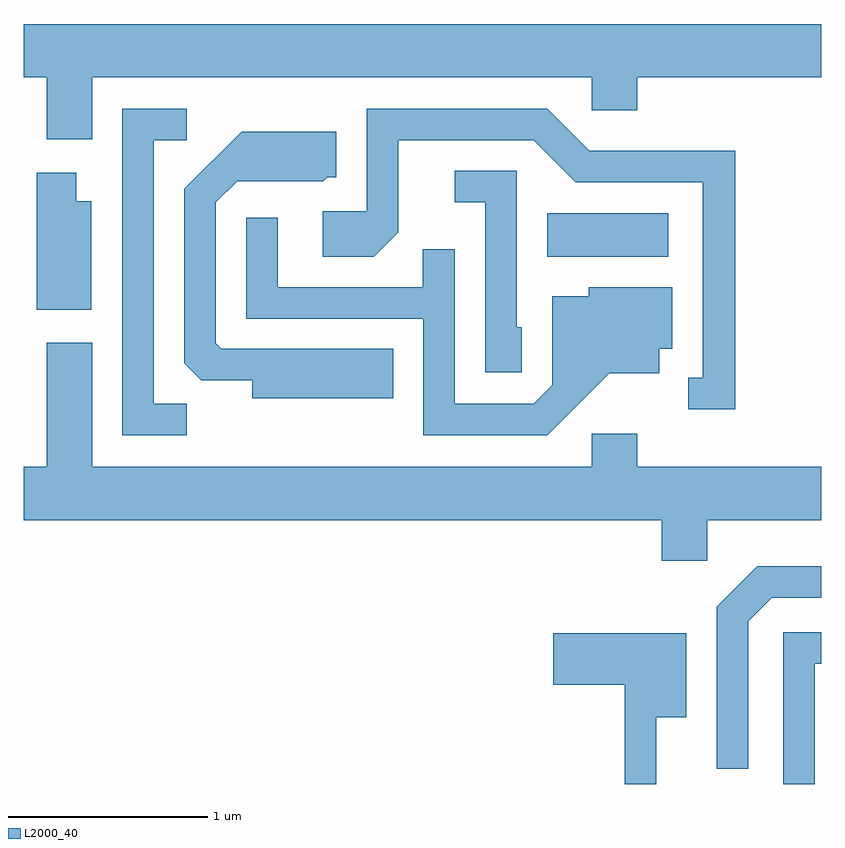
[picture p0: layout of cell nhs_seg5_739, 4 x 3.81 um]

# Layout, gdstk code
import gdstk
lib = gdstk.Library(unit=1e-6, precision=1e-09)
def R(c, l, rs):  # rectangles x0, y0, x1, y1
    for r in rs: c.add(gdstk.rectangle(r[:2], r[2:], *l))
def P(c, l, *ps):  # polygons
    for p in ps: c.add(gdstk.Polygon(p, *l))
L2000_40 = (2000, 40)

nhs_seg5_739 = lib.new_cell('nhs_seg5_739')
R(nhs_seg5_739, L2000_40, [(208.236,1524.716,208.844,1524.934)])
P(nhs_seg5_739, L2000_40, [(205.954,1525.616),(208.461,1525.616),(208.461,1525.451),(208.689,1525.451),(208.689,1525.616),(209.611,1525.616),(209.611,1525.884),(205.611,1525.884),(205.611,1525.616),(205.726,1525.616),(205.726,1525.306),(205.954,1525.306)],
  [(206.428,1523.979),(206.264,1523.979),(206.264,1525.301),(206.428,1525.301),(206.428,1525.459),(206.106,1525.459),(206.106,1523.821),(206.428,1523.821)],
  [(209.179,1525.249),(208.447,1525.249),(208.237,1525.459),(207.331,1525.459),(207.331,1524.944),(207.111,1524.944),(207.111,1524.716),(207.367,1524.716),(207.489,1524.839),(207.489,1525.301),(208.169,1525.301),(208.379,1525.091),(209.016,1525.091),(209.016,1524.109),(208.943,1524.109),(208.943,1523.951),(209.179,1523.951)],
  [(207.464,1524.254),(206.602,1524.254),(206.574,1524.282),(206.574,1524.989),(206.682,1525.096),(207.112,1525.096),(207.132,1525.116),(207.179,1525.116),(207.179,1525.344),(206.704,1525.344),(206.416,1525.057),(206.416,1524.182),(206.502,1524.096),(206.756,1524.096),(206.756,1524.006),(207.464,1524.006)],
  [(208.109,1524.364),(208.084,1524.364),(208.084,1525.149),(207.773,1525.149),(207.773,1524.991),(207.926,1524.991),(207.926,1524.136),(208.109,1524.136)],
  [(205.949,1524.994),(205.874,1524.994),(205.874,1525.139),(205.676,1525.139),(205.676,1524.451),(205.949,1524.451)],
  [(208.547,1524.131),(208.799,1524.131),(208.799,1524.256),(208.864,1524.256),(208.864,1524.564),(208.446,1524.564),(208.446,1524.519),(208.261,1524.519),(208.261,1524.072),(208.169,1523.979),(207.774,1523.979),(207.774,1524.753),(207.611,1524.753),(207.611,1524.564),(206.884,1524.564),(206.884,1524.913),(206.726,1524.913),(206.726,1524.406),(207.616,1524.406),(207.616,1523.821),(208.237,1523.821)],
  [(209.039,1523.396),(209.611,1523.396),(209.611,1523.664),(208.689,1523.664),(208.689,1523.829),(208.461,1523.829),(208.461,1523.664),(205.954,1523.664),(205.954,1524.284),(205.726,1524.284),(205.726,1523.664),(205.611,1523.664),(205.611,1523.396),(208.811,1523.396),(208.811,1523.191),(209.039,1523.191)],
  [(209.244,1522.889),(209.362,1523.006),(209.611,1523.006),(209.611,1523.164),(209.289,1523.164),(209.086,1522.962),(209.086,1522.148),(209.244,1522.148)],
  [(209.579,1522.676),(209.611,1522.676),(209.611,1522.834),(209.421,1522.834),(209.421,1522.072),(209.579,1522.072)],
  [(208.784,1522.406),(208.934,1522.406),(208.934,1522.829),(208.266,1522.829),(208.266,1522.571),(208.626,1522.571),(208.626,1522.072),(208.784,1522.072)])

lib.write_gds('nhs_seg5_739.gds')
